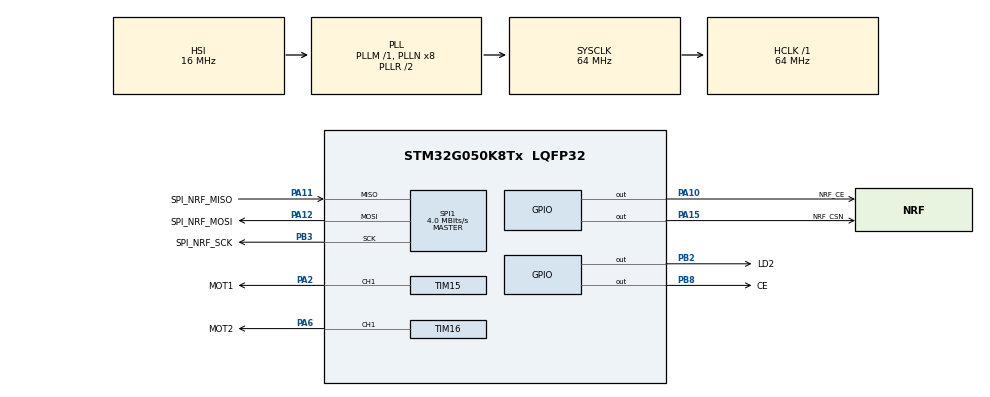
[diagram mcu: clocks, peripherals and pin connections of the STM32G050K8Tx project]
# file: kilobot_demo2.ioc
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Mcu.Family=STM32G0
Mcu.Name=STM32G050K8Tx
Mcu.Package=LQFP32
PA10.GPIO_Label=NRF_CE
PA10.Signal=GPIO_Output
PA11\ [PA9].GPIO_Label=SPI_NRF_MISO
PA11\ [PA9].Mode=Full_Duplex_Master
PA11\ [PA9].Signal=SPI1_MISO
PA12\ [PA10].GPIO_Label=SPI_NRF_MOSI
PA12\ [PA10].Mode=Full_Duplex_Master
PA12\ [PA10].Signal=SPI1_MOSI
PA13.Mode=Serial_Wire
PA13.Signal=SYS_SWDIO
PA14-BOOT0.Mode=Serial_Wire
PA14-BOOT0.Signal=SYS_SWCLK
PA15.GPIO_Label=NRF_CSN
PA15.Signal=GPIO_Output
PA2.GPIO_Label=MOT1
PA2.Signal=S_TIM15_CH1
PA6.GPIO_Label=MOT2
PA6.Signal=S_TIM16_CH1
PB2.GPIO_Label=LD2
PB2.Signal=GPIO_Output
PB3.GPIO_Label=SPI_NRF_SCK
PB3.Mode=Full_Duplex_Master
PB3.Signal=SPI1_SCK
PB8.GPIO_Label=CE
PB8.Signal=GPIO_Output
ProjectManager.HeapSize=0x200
ProjectManager.StackSize=0x400
ProjectManager.TargetToolchain=STM32CubeIDE
RCC.ADCFreq_Value=64000000
RCC.AHBFreq_Value=64000000
RCC.CortexFreq_Value=64000000
RCC.EXTERNAL_CLOCK_VALUE=48000
RCC.HCLKFreq_Value=64000000
RCC.HSE_VALUE=16000000
RCC.HSI_VALUE=16000000
RCC.LSE_VALUE=32768
RCC.SYSCLKFreq_VALUE=64000000
RCC.SYSCLKSource=RCC_SYSCLKSOURCE_PLLCLK
RCC.VCOOutputFreq_Value=128000000
SH.S_TIM15_CH1.0=TIM15_CH1,PWM Generation1 CH1
SH.S_TIM16_CH1.0=TIM16_CH1,PWM Generation1 CH1
SPI1.BaudRatePrescaler=SPI_BAUDRATEPRESCALER_16
SPI1.CalculateBaudRate=4.0 MBits/s
SPI1.Direction=SPI_DIRECTION_2LINES
SPI1.Mode=SPI_MODE_MASTER
SPI1.VirtualType=VM_MASTER
TIM15.Channel-PWM\ Generation1\ CH1=TIM_CHANNEL_1
TIM15.Period=2000
TIM15.Prescaler=64
TIM16.Channel=TIM_CHANNEL_1
TIM16.Period=2000
TIM16.Prescaler=64
TIM3.Period=20000
TIM3.Prescaler=64
VP_SYS_VS_DBSignals.Mode=DisableDeadBatterySignals
VP_TIM16_VS_ClockSourceINT.Mode=Enable_Timer
VP_TIM3_VS_ClockSourceINT.Mode=Internal
board=custom

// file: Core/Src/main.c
/* USER CODE BEGIN Header */
/**
  ******************************************************************************
  * @file           : main.c
  * @brief          : Main program body
  ******************************************************************************
  * @attention
  *
  * Copyright (c) 2022 STMicroelectronics.
  * All rights reserved.
  *
  * This software is licensed under terms that can be found in the LICENSE file
  * in the root directory of this software component.
  * If no LICENSE file comes with this software, it is provided AS-IS.
  *
  ******************************************************************************
  */
/* USER CODE END Header */
#include "main.h"

/* USER CODE BEGIN Includes */
#include "MY_NRF24.h"
#include "stdio.h"
#include "string.h"
/* USER CODE END Includes */

/* USER CODE BEGIN PD */
#define ID '5'	//ID ROBOTA - !!! SAMO 1 ZNAK !!!

#define payloadSize 32
#define bitcount 33

#define PWM_MAX 2000

/* USER CODE END PD */

 SPI_HandleTypeDef hspi1;

TIM_HandleTypeDef htim3;
TIM_HandleTypeDef htim15;
TIM_HandleTypeDef htim16;

/* USER CODE BEGIN PV */
//NRF
unsigned int PWM1 =0, PWM2 =0;

uint64_t RxAddress = 0x11223344AA;
uint8_t RxBin[payloadSize];
char RxData[payloadSize];
/* USER CODE END PV */

void SystemClock_Config(void);
static void MX_GPIO_Init(void);
static void MX_TIM3_Init(void);
static void MX_SPI1_Init(void);
static void MX_TIM15_Init(void);
static void MX_TIM16_Init(void);

int main(void)
{

  /* MCU Configuration--------------------------------------------------------*/

  /* Reset of all peripherals, Initializes the Flash interface and the Systick. */
  HAL_Init();

  /* Configure the system clock */
  SystemClock_Config();

  /* Initialize all configured peripherals */
  MX_GPIO_Init();
  MX_TIM3_Init();
  MX_SPI1_Init();
  MX_TIM15_Init();
  MX_TIM16_Init();
  /* USER CODE BEGIN 2 */
  HAL_TIM_PWM_Start(&htim15, TIM_CHANNEL_1);
  HAL_TIM_PWM_Start(&htim16, TIM_CHANNEL_1);

	// MAX = 2000, MIN = 500, MIN se lahko po potrebi prilagodi
  __HAL_TIM_SET_COMPARE(&htim15, TIM_CHANNEL_1, 0);
  __HAL_TIM_SET_COMPARE(&htim16, TIM_CHANNEL_1, 0);

  HAL_GPIO_WritePin(GPIOB, CE_Pin, GPIO_PIN_SET);

  //**** RECIEVER ****//
    // All necessary setup done in NRF24_begin
    NRF24_begin(GPIOA, NRF_CSN_Pin, NRF_CE_Pin, hspi1);
    NRF24_stopListening();

    // Open Rx pipeline
    NRF24_openReadingPipe(1, RxAddress);

    NRF24_setAutoAck(false);
    NRF24_setChannel(83);
    NRF24_setPayloadSize(payloadSize);
    NRF24_setPALevel(RF24_PA_m6dB);
    NRF24_setDataRate(RF24_2MBPS);
    NRF24_startListening();

  /* USER CODE END 2 */

  /* Infinite loop */
  /* USER CODE BEGIN WHILE */

  while (1) {
	  if(NRF24_available()==1) {
		HAL_GPIO_TogglePin(GPIOB, LD2_Pin);
		NRF24_read(RxBin, payloadSize);
		if ((char) RxBin[0] == ID) {
			for(int i = 0; i< payloadSize; i++)
				RxData[i] = (char) RxBin[i+1];

			switch (RxData[0]) {
				case 'P':
					sscanf(RxData,"P%4u %4u", &PWM1, &PWM2);
					if (PWM1 > PWM_MAX) PWM1 = PWM_MAX;
					if (PWM2 > PWM_MAX) PWM2 = PWM_MAX;

					__HAL_TIM_SET_COMPARE(&htim15, TIM_CHANNEL_1, PWM1);
					__HAL_TIM_SET_COMPARE(&htim16, TIM_CHANNEL_1, PWM2);
					break;
				case 'T':
					__HAL_TIM_SET_COMPARE(&htim15, TIM_CHANNEL_1, PWM_MAX);
					HAL_GPIO_TogglePin(GPIOB, LD2_Pin);
						HAL_Delay(1000);
					HAL_GPIO_TogglePin(GPIOB, LD2_Pin);
					__HAL_TIM_SET_COMPARE(&htim15, TIM_CHANNEL_1, 0);

					__HAL_TIM_SET_COMPARE(&htim16, TIM_CHANNEL_1, PWM_MAX);
						HAL_Delay(1000);
					HAL_GPIO_TogglePin(GPIOB, LD2_Pin);
					__HAL_TIM_SET_COMPARE(&htim16, TIM_CHANNEL_1, 0);
					break;
				default:
					break;
			}
		}
		for(int i = 0; i< payloadSize; i++)
			RxData[i] = '\0';

	  }

    /* USER CODE END WHILE */

  }
}

void SystemClock_Config(void)
{
  RCC_OscInitTypeDef RCC_OscInitStruct = {0};
  RCC_ClkInitTypeDef RCC_ClkInitStruct = {0};

  /** Configure the main internal regulator output voltage
  */
  HAL_PWREx_ControlVoltageScaling(PWR_REGULATOR_VOLTAGE_SCALE1);

  /** Initializes the RCC Oscillators according to the specified parameters
  * in the RCC_OscInitTypeDef structure.
  */
  RCC_OscInitStruct.OscillatorType = RCC_OSCILLATORTYPE_HSI;
  RCC_OscInitStruct.HSIState = RCC_HSI_ON;
  RCC_OscInitStruct.HSIDiv = RCC_HSI_DIV1;
  RCC_OscInitStruct.HSICalibrationValue = RCC_HSICALIBRATION_DEFAULT;
  RCC_OscInitStruct.PLL.PLLState = RCC_PLL_ON;
  RCC_OscInitStruct.PLL.PLLSource = RCC_PLLSOURCE_HSI;
  RCC_OscInitStruct.PLL.PLLM = RCC_PLLM_DIV1;
  RCC_OscInitStruct.PLL.PLLN = 8;
  RCC_OscInitStruct.PLL.PLLP = RCC_PLLP_DIV2;
  RCC_OscInitStruct.PLL.PLLR = RCC_PLLR_DIV2;
  if (HAL_RCC_OscConfig(&RCC_OscInitStruct) != HAL_OK)
  {
    Error_Handler();
  }

  /** Initializes the CPU, AHB and APB buses clocks
  */
  RCC_ClkInitStruct.ClockType = RCC_CLOCKTYPE_HCLK|RCC_CLOCKTYPE_SYSCLK
                              |RCC_CLOCKTYPE_PCLK1;
  RCC_ClkInitStruct.SYSCLKSource = RCC_SYSCLKSOURCE_PLLCLK;
  RCC_ClkInitStruct.AHBCLKDivider = RCC_SYSCLK_DIV1;
  RCC_ClkInitStruct.APB1CLKDivider = RCC_HCLK_DIV1;

  if (HAL_RCC_ClockConfig(&RCC_ClkInitStruct, FLASH_LATENCY_2) != HAL_OK)
  {
    Error_Handler();
  }
}

static void MX_SPI1_Init(void)
{

  /* SPI1 parameter configuration*/
  hspi1.Instance = SPI1;
  hspi1.Init.Mode = SPI_MODE_MASTER;
  hspi1.Init.Direction = SPI_DIRECTION_2LINES;
  hspi1.Init.DataSize = SPI_DATASIZE_8BIT;
  hspi1.Init.CLKPolarity = SPI_POLARITY_LOW;
  hspi1.Init.CLKPhase = SPI_PHASE_1EDGE;
  hspi1.Init.NSS = SPI_NSS_SOFT;
  hspi1.Init.BaudRatePrescaler = SPI_BAUDRATEPRESCALER_16;
  hspi1.Init.FirstBit = SPI_FIRSTBIT_MSB;
  hspi1.Init.TIMode = SPI_TIMODE_DISABLE;
  hspi1.Init.CRCCalculation = SPI_CRCCALCULATION_DISABLE;
  hspi1.Init.CRCPolynomial = 7;
  hspi1.Init.CRCLength = SPI_CRC_LENGTH_DATASIZE;
  hspi1.Init.NSSPMode = SPI_NSS_PULSE_ENABLE;
  if (HAL_SPI_Init(&hspi1) != HAL_OK)
  {
    Error_Handler();
  }

}

static void MX_TIM3_Init(void)
{

  TIM_ClockConfigTypeDef sClockSourceConfig = {0};
  TIM_MasterConfigTypeDef sMasterConfig = {0};

  htim3.Instance = TIM3;
  htim3.Init.Prescaler = 64;
  htim3.Init.CounterMode = TIM_COUNTERMODE_UP;
  htim3.Init.Period = 20000;
  htim3.Init.ClockDivision = TIM_CLOCKDIVISION_DIV1;
  htim3.Init.AutoReloadPreload = TIM_AUTORELOAD_PRELOAD_DISABLE;
  if (HAL_TIM_Base_Init(&htim3) != HAL_OK)
  {
    Error_Handler();
  }
  sClockSourceConfig.ClockSource = TIM_CLOCKSOURCE_INTERNAL;
  if (HAL_TIM_ConfigClockSource(&htim3, &sClockSourceConfig) != HAL_OK)
  {
    Error_Handler();
  }
  sMasterConfig.MasterOutputTrigger = TIM_TRGO_RESET;
  sMasterConfig.MasterSlaveMode = TIM_MASTERSLAVEMODE_DISABLE;
  if (HAL_TIMEx_MasterConfigSynchronization(&htim3, &sMasterConfig) != HAL_OK)
  {
    Error_Handler();
  }

}

static void MX_TIM15_Init(void)
{

  TIM_MasterConfigTypeDef sMasterConfig = {0};
  TIM_OC_InitTypeDef sConfigOC = {0};
  TIM_BreakDeadTimeConfigTypeDef sBreakDeadTimeConfig = {0};

  htim15.Instance = TIM15;
  htim15.Init.Prescaler = 64;
  htim15.Init.CounterMode = TIM_COUNTERMODE_UP;
  htim15.Init.Period = 2000;
  htim15.Init.ClockDivision = TIM_CLOCKDIVISION_DIV1;
  htim15.Init.RepetitionCounter = 0;
  htim15.Init.AutoReloadPreload = TIM_AUTORELOAD_PRELOAD_DISABLE;
  if (HAL_TIM_PWM_Init(&htim15) != HAL_OK)
  {
    Error_Handler();
  }
  sMasterConfig.MasterOutputTrigger = TIM_TRGO_RESET;
  sMasterConfig.MasterSlaveMode = TIM_MASTERSLAVEMODE_DISABLE;
  if (HAL_TIMEx_MasterConfigSynchronization(&htim15, &sMasterConfig) != HAL_OK)
  {
    Error_Handler();
  }
  sConfigOC.OCMode = TIM_OCMODE_PWM1;
  sConfigOC.Pulse = 0;
  sConfigOC.OCPolarity = TIM_OCPOLARITY_HIGH;
  sConfigOC.OCNPolarity = TIM_OCNPOLARITY_HIGH;
  sConfigOC.OCFastMode = TIM_OCFAST_DISABLE;
  sConfigOC.OCIdleState = TIM_OCIDLESTATE_RESET;
  sConfigOC.OCNIdleState = TIM_OCNIDLESTATE_RESET;
  if (HAL_TIM_PWM_ConfigChannel(&htim15, &sConfigOC, TIM_CHANNEL_1) != HAL_OK)
  {
    Error_Handler();
  }
  sBreakDeadTimeConfig.OffStateRunMode = TIM_OSSR_DISABLE;
  sBreakDeadTimeConfig.OffStateIDLEMode = TIM_OSSI_DISABLE;
  sBreakDeadTimeConfig.LockLevel = TIM_LOCKLEVEL_OFF;
  sBreakDeadTimeConfig.DeadTime = 0;
  sBreakDeadTimeConfig.BreakState = TIM_BREAK_DISABLE;
  sBreakDeadTimeConfig.BreakPolarity = TIM_BREAKPOLARITY_HIGH;
  sBreakDeadTimeConfig.BreakFilter = 0;
  sBreakDeadTimeConfig.AutomaticOutput = TIM_AUTOMATICOUTPUT_DISABLE;
  if (HAL_TIMEx_ConfigBreakDeadTime(&htim15, &sBreakDeadTimeConfig) != HAL_OK)
  {
    Error_Handler();
  }
  HAL_TIM_MspPostInit(&htim15);

}

static void MX_TIM16_Init(void)
{

  TIM_OC_InitTypeDef sConfigOC = {0};
  TIM_BreakDeadTimeConfigTypeDef sBreakDeadTimeConfig = {0};

  htim16.Instance = TIM16;
  htim16.Init.Prescaler = 64;
  htim16.Init.CounterMode = TIM_COUNTERMODE_UP;
  htim16.Init.Period = 2000;
  htim16.Init.ClockDivision = TIM_CLOCKDIVISION_DIV1;
  htim16.Init.RepetitionCounter = 0;
  htim16.Init.AutoReloadPreload = TIM_AUTORELOAD_PRELOAD_DISABLE;
  if (HAL_TIM_Base_Init(&htim16) != HAL_OK)
  {
    Error_Handler();
  }
  if (HAL_TIM_PWM_Init(&htim16) != HAL_OK)
  {
    Error_Handler();
  }
  sConfigOC.OCMode = TIM_OCMODE_PWM1;
  sConfigOC.Pulse = 0;
  sConfigOC.OCPolarity = TIM_OCPOLARITY_HIGH;
  sConfigOC.OCNPolarity = TIM_OCNPOLARITY_HIGH;
  sConfigOC.OCFastMode = TIM_OCFAST_DISABLE;
  sConfigOC.OCIdleState = TIM_OCIDLESTATE_RESET;
  sConfigOC.OCNIdleState = TIM_OCNIDLESTATE_RESET;
  if (HAL_TIM_PWM_ConfigChannel(&htim16, &sConfigOC, TIM_CHANNEL_1) != HAL_OK)
  {
    Error_Handler();
  }
  sBreakDeadTimeConfig.OffStateRunMode = TIM_OSSR_DISABLE;
  sBreakDeadTimeConfig.OffStateIDLEMode = TIM_OSSI_DISABLE;
  sBreakDeadTimeConfig.LockLevel = TIM_LOCKLEVEL_OFF;
  sBreakDeadTimeConfig.DeadTime = 0;
  sBreakDeadTimeConfig.BreakState = TIM_BREAK_DISABLE;
  sBreakDeadTimeConfig.BreakPolarity = TIM_BREAKPOLARITY_HIGH;
  sBreakDeadTimeConfig.BreakFilter = 0;
  sBreakDeadTimeConfig.AutomaticOutput = TIM_AUTOMATICOUTPUT_DISABLE;
  if (HAL_TIMEx_ConfigBreakDeadTime(&htim16, &sBreakDeadTimeConfig) != HAL_OK)
  {
    Error_Handler();
  }
  HAL_TIM_MspPostInit(&htim16);

}

static void MX_GPIO_Init(void)
{
  GPIO_InitTypeDef GPIO_InitStruct = {0};

  /* GPIO Ports Clock Enable */
  __HAL_RCC_GPIOA_CLK_ENABLE();
  __HAL_RCC_GPIOB_CLK_ENABLE();

  /*Configure GPIO pin Output Level */
  HAL_GPIO_WritePin(GPIOB, LD2_Pin|CE_Pin, GPIO_PIN_RESET);

  /*Configure GPIO pin Output Level */
  HAL_GPIO_WritePin(GPIOA, NRF_CE_Pin|NRF_CSN_Pin, GPIO_PIN_RESET);

  /*Configure GPIO pins : LD2_Pin CE_Pin */
  GPIO_InitStruct.Pin = LD2_Pin|CE_Pin;
  GPIO_InitStruct.Mode = GPIO_MODE_OUTPUT_PP;
  GPIO_InitStruct.Pull = GPIO_NOPULL;
  GPIO_InitStruct.Speed = GPIO_SPEED_FREQ_LOW;
  HAL_GPIO_Init(GPIOB, &GPIO_InitStruct);

  /*Configure GPIO pins : NRF_CE_Pin NRF_CSN_Pin */
  GPIO_InitStruct.Pin = NRF_CE_Pin|NRF_CSN_Pin;
  GPIO_InitStruct.Mode = GPIO_MODE_OUTPUT_PP;
  GPIO_InitStruct.Pull = GPIO_NOPULL;
  GPIO_InitStruct.Speed = GPIO_SPEED_FREQ_LOW;
  HAL_GPIO_Init(GPIOA, &GPIO_InitStruct);

}

void Error_Handler(void)
{
  /* USER CODE BEGIN Error_Handler_Debug */
	  /* User can add his own implementation to report the HAL error return state */
	  __disable_irq();
	  while (1)
	  {
		  /* USER CODE BEGIN Error_Handler_Debug */
		  /* User can add his own implementation to report the HAL error return state */
		  __disable_irq();
		  while (1)
		  {

		  }
		  }
  /* USER CODE END Error_Handler_Debug */
}
